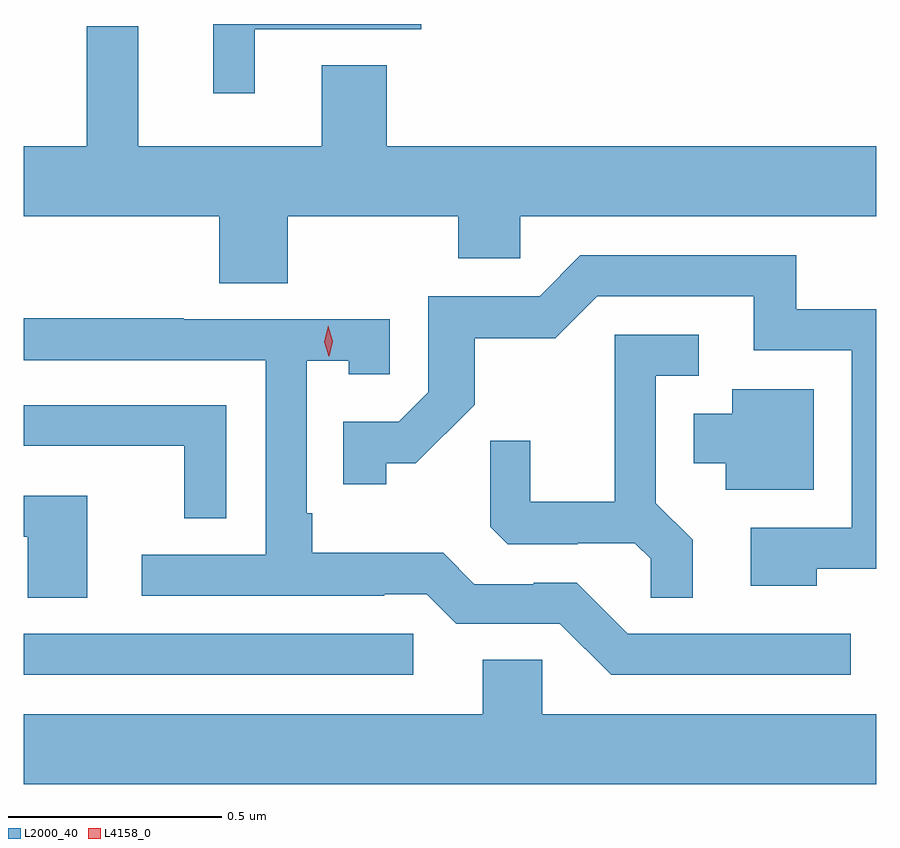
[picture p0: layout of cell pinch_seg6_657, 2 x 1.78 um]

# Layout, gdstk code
import gdstk
lib = gdstk.Library(unit=1e-6, precision=1e-09)
def R(c, l, rs):  # rectangles x0, y0, x1, y1
    for r in rs: c.add(gdstk.rectangle(r[:2], r[2:], *l))
def P(c, l, *ps):  # polygons
    for p in ps: c.add(gdstk.Polygon(p, *l))
L2000_40 = (2000, 40)
L4158_0 = (4158, 0)

pinch_seg6_657 = lib.new_cell('pinch_seg6_657')
R(pinch_seg6_657, L2000_40, [(434.072,927.612,434.986,927.708)])
P(pinch_seg6_657, L2000_40, [(434.614,929.127),(435.005,929.127),(435.005,929.139),(434.516,929.139),(434.516,928.977),(434.614,928.977)],
  [(434.341,929.134),(434.22,929.134),(434.22,928.852),(434.072,928.852),(434.072,928.688),(434.531,928.688),(434.531,928.531),(434.691,928.531),(434.691,928.688),(435.091,928.688),(435.091,928.59),(435.237,928.59),(435.237,928.688),(436.072,928.688),(436.072,928.852),(434.924,928.852),(434.924,929.042),(434.771,929.042),(434.771,928.852),(434.341,928.852)],
  [(435.933,927.861),(436.072,927.861),(436.072,928.47),(435.884,928.47),(435.884,928.596),(435.378,928.596),(435.282,928.5),(435.021,928.5),(435.021,928.275),(434.952,928.206),(434.821,928.206),(434.821,928.059),(434.922,928.059),(434.922,928.109),(434.992,928.109),(435.13,928.246),(435.13,928.402),(435.319,928.402),(435.417,928.5),(435.785,928.5),(435.785,928.374),(436.014,928.374),(436.014,927.957),(435.777,927.957),(435.777,927.821),(435.933,927.821)],
  [(436.012,927.708),(435.489,927.708),(435.369,927.828),(435.268,927.828),(435.268,927.825),(435.129,927.825),(435.056,927.898),(434.749,927.898),(434.749,927.991),(434.736,927.991),(434.736,928.349),(434.835,928.349),(434.835,928.317),(434.931,928.317),(434.931,928.446),(434.447,928.446),(434.447,928.449),(434.072,928.449),(434.072,928.35),(434.64,928.35),(434.64,927.894),(434.349,927.894),(434.349,927.798),(434.918,927.798),(434.918,927.801),(435.018,927.801),(435.087,927.732),(435.33,927.732),(435.45,927.612),(436.012,927.612)],
  [(435.641,927.929),(435.555,928.015),(435.555,928.314),(435.655,928.314),(435.655,928.41),(435.458,928.41),(435.458,928.018),(435.26,928.018),(435.26,928.161),(435.166,928.161),(435.166,927.959),(435.207,927.918),(435.372,927.918),(435.372,927.921),(435.506,927.921),(435.543,927.884),(435.543,927.793),(435.641,927.793)],
  [(435.925,928.282),(435.734,928.282),(435.734,928.225),(435.644,928.225),(435.644,928.109),(435.719,928.109),(435.719,928.046),(435.925,928.046)],
  [(434.547,928.245),(434.072,928.245),(434.072,928.149),(434.449,928.149),(434.449,927.979),(434.547,927.979)],
  [(434.221,928.032),(434.072,928.032),(434.072,927.936),(434.081,927.936),(434.081,927.793),(434.221,927.793)],
  [(436.072,927.52),(435.288,927.52),(435.288,927.647),(435.149,927.647),(435.149,927.52),(434.072,927.52),(434.072,927.356),(436.072,927.356)])
P(pinch_seg6_657, L4158_0, [(434.788,928.359),(434.788,928.359),(434.777,928.394),(434.786,928.43),(434.786,928.431),(434.786,928.43),(434.797,928.395),(434.789,928.359)])

lib.write_gds('pinch_seg6_657.gds')
